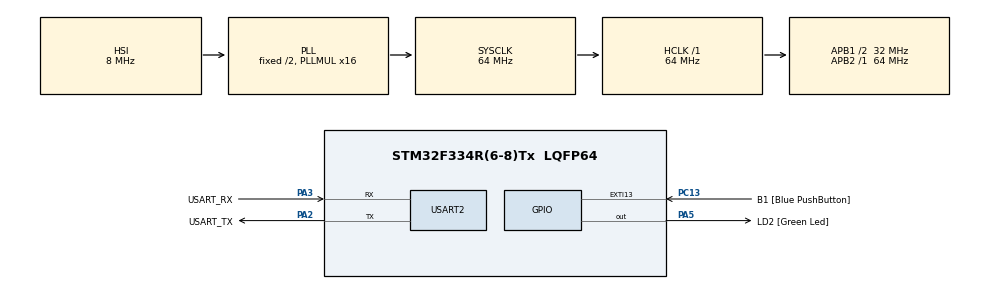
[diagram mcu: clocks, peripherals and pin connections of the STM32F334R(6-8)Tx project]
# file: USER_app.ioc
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Mcu.Family=STM32F3
Mcu.Name=STM32F334R(6-8)Tx
Mcu.Package=LQFP64
NVIC.EXTI15_10_IRQn=true\:0\:0\:false\:false\:true\:true
NVIC.PriorityGroup=NVIC_PRIORITYGROUP_0
PA13.GPIO_Label=TMS
PA13.Mode=Serial_Wire
PA13.Signal=SYS_JTMS-SWDIO
PA14.GPIO_Label=TCK
PA14.Mode=Serial_Wire
PA14.Signal=SYS_JTCK-SWCLK
PA2.GPIO_Label=USART_TX
PA2.Mode=Asynchronous
PA2.Signal=USART2_TX
PA3.GPIO_Label=USART_RX
PA3.Mode=Asynchronous
PA3.Signal=USART2_RX
PA5.GPIO_Label=LD2 [Green Led]
PA5.Signal=GPIO_Output
PB3.GPIO_Label=SWO
PB3.Signal=SYS_JTDO-TRACESWO
PC13.GPIO_Label=B1 [Blue PushButton]
PC13.GPIO_ModeDefaultEXTI=GPIO_MODE_IT_FALLING
PC13.Signal=GPXTI13
PC14\ /\ OSC32_IN.Mode=LSE-External-Oscillator
PC14\ /\ OSC32_IN.Signal=RCC_OSC32_IN
PC15\ /\ OSC32_OUT.GPIO_Label=RCC_OSC32_OUT
PC15\ /\ OSC32_OUT.Mode=LSE-External-Oscillator
PC15\ /\ OSC32_OUT.Signal=RCC_OSC32_OUT
PF0\ /\ OSC_IN.Mode=HSE-External-Clock-Source
PF0\ /\ OSC_IN.Signal=RCC_OSC_IN
PF1\ /\ OSC_OUT.Signal=RCC_OSC_OUT
ProjectManager.HeapSize=0x200
ProjectManager.StackSize=0x400
ProjectManager.TargetToolchain=SW4STM32
RCC.AHBFreq_Value=64000000
RCC.APB1CLKDivider=RCC_HCLK_DIV2
RCC.APB1Freq_Value=32000000
RCC.APB1TimFreq_Value=64000000
RCC.APB2Freq_Value=64000000
RCC.APB2TimFreq_Value=64000000
RCC.CortexFreq_Value=64000000
RCC.FLatency-AdvancedSettings=FLASH_LATENCY_2
RCC.HCLKFreq_Value=64000000
RCC.HSE_VALUE=8000000
RCC.HSI_VALUE=8000000
RCC.PLLMUL=RCC_PLL_MUL16
RCC.SYSCLKFreq_VALUE=64000000
RCC.SYSCLKSourceVirtual=RCC_SYSCLKSOURCE_PLLCLK
USART2.VirtualMode-Asynchronous=VM_ASYNC
board=NUCLEO-F334R8

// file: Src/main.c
/**
  ******************************************************************************
  * @file           : main.c
  * @brief          : Main program body
  ******************************************************************************
  ** This notice applies to any and all portions of this file
  * that are not between comment pairs USER CODE BEGIN and
  * USER CODE END. Other portions of this file, whether
  * inserted by the user or by software development tools
  * are owned by their respective copyright owners.
  *
  * COPYRIGHT(c) 2020 STMicroelectronics
  *
  * Redistribution and use in source and binary forms, with or without modification,
  * are permitted provided that the following conditions are met:
  *   1. Redistributions of source code must retain the above copyright notice,
  *      this list of conditions and the following disclaimer.
  *   2. Redistributions in binary form must reproduce the above copyright notice,
  *      this list of conditions and the following disclaimer in the documentation
  *      and/or other materials provided with the distribution.
  *   3. Neither the name of STMicroelectronics nor the names of its contributors
  *      may be used to endorse or promote products derived from this software
  *      without specific prior written permission.
  *
  * THIS SOFTWARE IS PROVIDED BY THE COPYRIGHT HOLDERS AND CONTRIBUTORS "AS IS"
  * AND ANY EXPRESS OR IMPLIED WARRANTIES, INCLUDING, BUT NOT LIMITED TO, THE
  * IMPLIED WARRANTIES OF MERCHANTABILITY AND FITNESS FOR A PARTICULAR PURPOSE ARE
  * DISCLAIMED. IN NO EVENT SHALL THE COPYRIGHT HOLDER OR CONTRIBUTORS BE LIABLE
  * FOR ANY DIRECT, INDIRECT, INCIDENTAL, SPECIAL, EXEMPLARY, OR CONSEQUENTIAL
  * DAMAGES (INCLUDING, BUT NOT LIMITED TO, PROCUREMENT OF SUBSTITUTE GOODS OR
  * SERVICES; LOSS OF USE, DATA, OR PROFITS; OR BUSINESS INTERRUPTION) HOWEVER
  * CAUSED AND ON ANY THEORY OF LIABILITY, WHETHER IN CONTRACT, STRICT LIABILITY,
  * OR TORT (INCLUDING NEGLIGENCE OR OTHERWISE) ARISING IN ANY WAY OUT OF THE USE
  * OF THIS SOFTWARE, EVEN IF ADVISED OF THE POSSIBILITY OF SUCH DAMAGE.
  *
  ******************************************************************************
  */
#include "main.h"
#include "stm32f3xx_hal.h"

/* USER CODE BEGIN Includes */
#include <string.h>
#include <stdarg.h>

/* USER CODE END Includes */

UART_HandleTypeDef huart2;

/* USER CODE BEGIN PV */
/* Private variables ---------------------------------------------------------*/

/* USER CODE END PV */

void SystemClock_Config(void);
static void MX_GPIO_Init(void);
static void MX_USART2_UART_Init(void);

/* USER CODE BEGIN PFP */
/* Private function prototypes -----------------------------------------------*/

/* USER CODE END PFP */

/* USER CODE BEGIN 0 */
#define BL_DEBUG_MSG_EN
#define D_UART &huart2
void printmsg(char* format,...);

uint32_t tiempo;

/* USER CODE END 0 */

int main(void)
{

  /* MCU Configuration----------------------------------------------------------*/

  /* Reset of all peripherals, Initializes the Flash interface and the Systick. */
  HAL_Init();

  /* Configure the system clock */
  SystemClock_Config();

  /* Initialize all configured peripherals */
  MX_GPIO_Init();
  MX_USART2_UART_Init();

  /* Infinite loop */
  while (1)
  {
	  printmsg("Hello from user application\n\r");
	  tiempo=HAL_GetTick();
	  while(HAL_GetTick()<=tiempo+1000);
  }

}

void SystemClock_Config(void)
{

  RCC_OscInitTypeDef RCC_OscInitStruct;
  RCC_ClkInitTypeDef RCC_ClkInitStruct;

    /**Initializes the CPU, AHB and APB busses clocks
    */
  RCC_OscInitStruct.OscillatorType = RCC_OSCILLATORTYPE_HSI;
  RCC_OscInitStruct.HSIState = RCC_HSI_ON;
  RCC_OscInitStruct.HSICalibrationValue = 16;
  RCC_OscInitStruct.PLL.PLLState = RCC_PLL_ON;
  RCC_OscInitStruct.PLL.PLLSource = RCC_PLLSOURCE_HSI;
  RCC_OscInitStruct.PLL.PLLMUL = RCC_PLL_MUL16;
  if (HAL_RCC_OscConfig(&RCC_OscInitStruct) != HAL_OK)
  {
    _Error_Handler(__FILE__, __LINE__);
  }

    /**Initializes the CPU, AHB and APB busses clocks
    */
  RCC_ClkInitStruct.ClockType = RCC_CLOCKTYPE_HCLK|RCC_CLOCKTYPE_SYSCLK
                              |RCC_CLOCKTYPE_PCLK1|RCC_CLOCKTYPE_PCLK2;
  RCC_ClkInitStruct.SYSCLKSource = RCC_SYSCLKSOURCE_PLLCLK;
  RCC_ClkInitStruct.AHBCLKDivider = RCC_SYSCLK_DIV1;
  RCC_ClkInitStruct.APB1CLKDivider = RCC_HCLK_DIV2;
  RCC_ClkInitStruct.APB2CLKDivider = RCC_HCLK_DIV1;

  if (HAL_RCC_ClockConfig(&RCC_ClkInitStruct, FLASH_LATENCY_2) != HAL_OK)
  {
    _Error_Handler(__FILE__, __LINE__);
  }

    /**Configure the Systick interrupt time
    */
  HAL_SYSTICK_Config(HAL_RCC_GetHCLKFreq()/1000);

    /**Configure the Systick
    */
  HAL_SYSTICK_CLKSourceConfig(SYSTICK_CLKSOURCE_HCLK);

  /* SysTick_IRQn interrupt configuration */
  HAL_NVIC_SetPriority(SysTick_IRQn, 0, 0);
}

/* USART2 init function */
static void MX_USART2_UART_Init(void)
{

  huart2.Instance = USART2;
  huart2.Init.BaudRate = 38400;
  huart2.Init.StopBits = UART_STOPBITS_1;
  huart2.Init.Parity = UART_PARITY_NONE;
  huart2.Init.Mode = UART_MODE_TX_RX;
  huart2.Init.HwFlowCtl = UART_HWCONTROL_NONE;
  huart2.Init.OverSampling = UART_OVERSAMPLING_16;
  huart2.Init.OneBitSampling = UART_ONE_BIT_SAMPLE_DISABLE;
  huart2.AdvancedInit.AdvFeatureInit = UART_ADVFEATURE_NO_INIT;
  if (HAL_UART_Init(&huart2) != HAL_OK)
  {
    _Error_Handler(__FILE__, __LINE__);
  }

}

/** Configure pins as
        * Analog
        * Input
        * Output
        * EVENT_OUT
        * EXTI
*/
static void MX_GPIO_Init(void)
{

  GPIO_InitTypeDef GPIO_InitStruct;

  /* GPIO Ports Clock Enable */
  __HAL_RCC_GPIOC_CLK_ENABLE();
  __HAL_RCC_GPIOF_CLK_ENABLE();
  __HAL_RCC_GPIOA_CLK_ENABLE();
  __HAL_RCC_GPIOB_CLK_ENABLE();

  /*Configure GPIO pin Output Level */
  HAL_GPIO_WritePin(LD2_GPIO_Port, LD2_Pin, GPIO_PIN_RESET);

  /*Configure GPIO pin : B1_Pin */
  GPIO_InitStruct.Pin = B1_Pin;
  GPIO_InitStruct.Mode = GPIO_MODE_IT_FALLING;
  GPIO_InitStruct.Pull = GPIO_NOPULL;
  HAL_GPIO_Init(B1_GPIO_Port, &GPIO_InitStruct);

  /*Configure GPIO pin : LD2_Pin */
  GPIO_InitStruct.Pin = LD2_Pin;
  GPIO_InitStruct.Mode = GPIO_MODE_OUTPUT_PP;
  GPIO_InitStruct.Pull = GPIO_NOPULL;
  GPIO_InitStruct.Speed = GPIO_SPEED_FREQ_LOW;
  HAL_GPIO_Init(LD2_GPIO_Port, &GPIO_InitStruct);

  /* EXTI interrupt init*/
  HAL_NVIC_SetPriority(EXTI15_10_IRQn, 0, 0);
  HAL_NVIC_EnableIRQ(EXTI15_10_IRQn);

}

/* USER CODE BEGIN 4 */

void printmsg(char* format,...)
{
#ifdef BL_DEBUG_MSG_EN
	char str[80];

	/* Extract the argument list using VA apis */
	va_list args;
	va_start(args,format);
	vsprintf(str,format,args);
	HAL_UART_Transmit(D_UART,(uint8_t*)str,strlen(str),HAL_MAX_DELAY);
	va_end(args);

#endif
}

/* USER CODE END 4 */

void _Error_Handler(char *file, int line)
{
  while(1)
  {
  }
}

/************************ (C) COPYRIGHT STMicroelectronics *****END OF FILE****/
